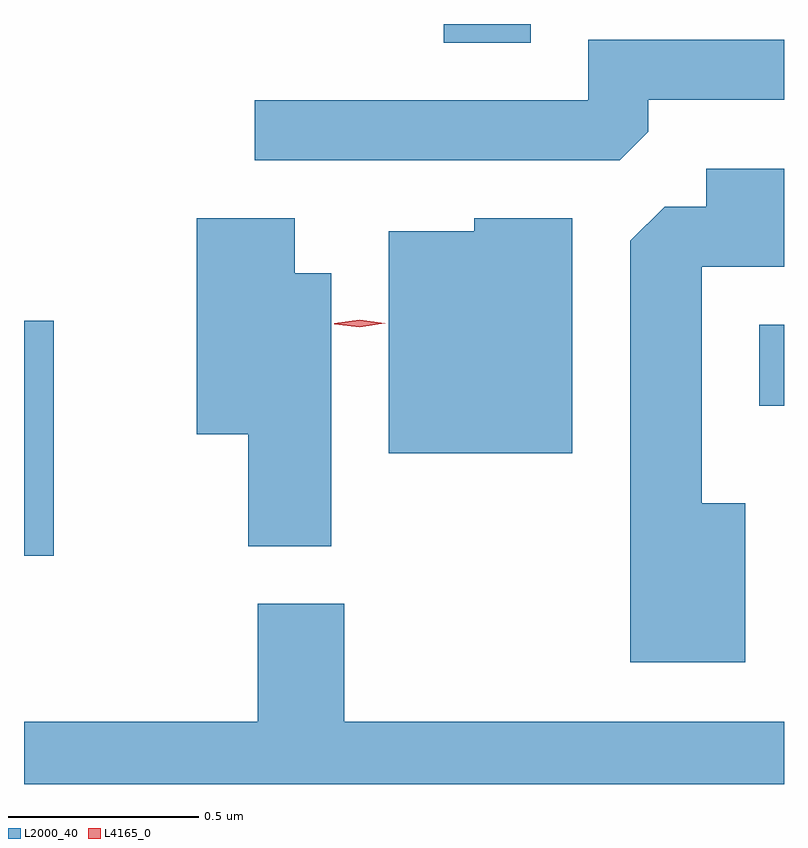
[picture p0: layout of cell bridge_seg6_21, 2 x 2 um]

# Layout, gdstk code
import gdstk
lib = gdstk.Library(unit=1e-6, precision=1e-09)
def R(c, l, rs):  # rectangles x0, y0, x1, y1
    for r in rs: c.add(gdstk.rectangle(r[:2], r[2:], *l))
def P(c, l, *ps):  # polygons
    for p in ps: c.add(gdstk.Polygon(p, *l))
L2000_40 = (2000, 40)
L4165_0 = (4165, 0)

bridge_seg6_21 = lib.new_cell('bridge_seg6_21')
R(bridge_seg6_21, L2000_40, [(1836.416,1652.861,1836.494,1653.479), (1838.351,1653.256,1838.416,1653.469), (1837.521,1654.211,1837.749,1654.26)])
P(bridge_seg6_21, L2000_40, [(1838.059,1653.977),(1838.059,1654.061),(1838.416,1654.061),(1838.416,1654.219),(1837.901,1654.219),(1837.901,1654.059),(1837.023,1654.059),(1837.023,1653.901),(1837.984,1653.901)],
  [(1838.314,1652.999),(1838.199,1652.999),(1838.199,1653.621),(1838.416,1653.621),(1838.416,1653.879),(1838.211,1653.879),(1838.211,1653.779),(1838.102,1653.779),(1838.011,1653.689),(1838.011,1652.581),(1838.314,1652.581)],
  [(1837.859,1653.749),(1837.601,1653.749),(1837.601,1653.714),(1837.376,1653.714),(1837.376,1653.131),(1837.859,1653.131)],
  [(1837.224,1653.604),(1837.129,1653.604),(1837.129,1653.749),(1836.871,1653.749),(1836.871,1653.181),(1837.006,1653.181),(1837.006,1652.886),(1837.224,1652.886)],
  [(1838.416,1652.424),(1837.259,1652.424),(1837.259,1652.734),(1837.031,1652.734),(1837.031,1652.424),(1836.416,1652.424),(1836.416,1652.26),(1838.416,1652.26)])
P(bridge_seg6_21, L4165_0, [(1837.299,1653.462),(1837.233,1653.47),(1837.233,1653.471),(1837.233,1653.472),(1837.299,1653.482),(1837.365,1653.473),(1837.366,1653.472),(1837.365,1653.472)])

lib.write_gds('bridge_seg6_21.gds')
